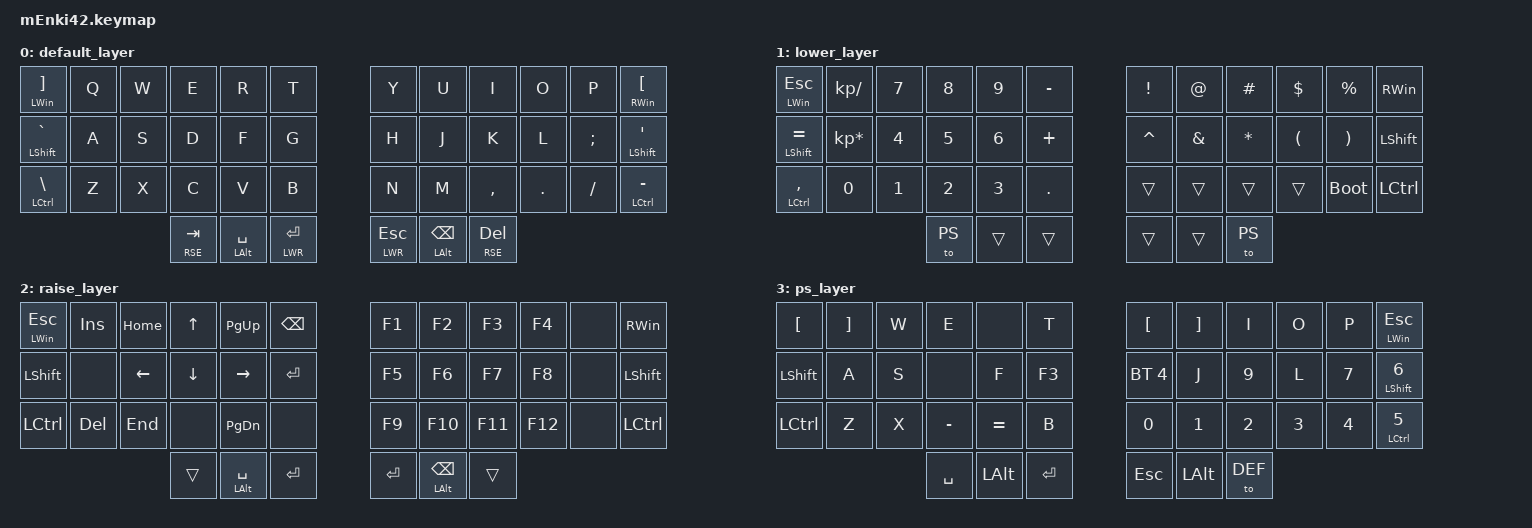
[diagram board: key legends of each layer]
                                                /*
 * Copyright (c) 2020 The ZMK Contributors
 *
 * SPDX-License-Identifier: MIT
 */

#include <behaviors.dtsi>
#include <dt-bindings/zmk/keys.h>
#include <dt-bindings/zmk/bt.h>

#include <dt-bindings/zmk/ext_power.h>
 
#define DEF 0
#define LWR 1
#define RSE 2
#define PS 3

&lt { quick_tap_ms = <150>; };
&mt { quick_tap_ms = <150>; };

/ {
    macros {
        numdot: numdot {
            label = "ZM_numdot";
            compatible = "zmk,behavior-macro";
            #binding-cells = <0>;
            wait-ms = <40>;
            tap-ms = <40>;
            bindings
                = <&macro_press   &kp LALT>    
                , <&macro_tap     &kp KP_N4 &kp KP_N6>    
                , <&macro_release &kp LALT>
                ;
        };
        grtsgn: grtsgn {
            label = "ZM_grtsgn";
            compatible = "zmk,behavior-macro";
            #binding-cells = <0>;
            wait-ms = <40>;
            tap-ms = <40>;
            bindings
                = <&macro_press   &kp LALT>    
                , <&macro_tap     &kp KP_N6 &kp KP_N2>    
                , <&macro_release &kp LALT>
                ;
        };
    };
};
/ {
        keymap {
                compatible = "zmk,keymap";

                default_layer {
                        bindings = <

&mt LWIN  RBKT     &kp Q           &kp W             &kp E         &kp R         &kp T                                 &kp Y          &kp U           &kp I          &kp O          &kp P           &mt RWIN LBKT 
&mt LSHFT GRAVE    &kp A           &kp S             &kp D         &kp F         &kp G                                 &kp H          &kp J           &kp K          &kp L          &kp SEMI        &mt LSHFT SQT
&mt LCTRL  BSLH    &kp Z           &kp X             &kp C         &kp V         &kp B                                 &kp N          &kp M           &kp COMMA      &kp DOT        &kp FSLH        &mt LCTRL MINUS
&lt RSE   TAB      &mt LALT SPACE  &lt LWR RET                                                                         &lt LWR ESC    &mt LALT BSPC   &lt RSE DEL

                        >;
                };
                lower_layer {
                        bindings = <

&mt LWIN ESC       &kp KP_SLASH    &kp N7            &kp N8        &kp N9        &kp MINUS                             &kp EXCL       &kp AT          &kp HASH       &kp DOLLAR     &kp PERCENT     &kp RWIN 
&mt LSHFT EQUAL    &kp KP_MULTIPLY &kp N4            &kp N5        &kp N6        &kp PLUS                              &kp CARET      &kp AMPS        &kp STAR       &kp LPAR       &kp RPAR        &kp LSHFT
&mt LCTRL COMMA    &kp N0          &kp N1            &kp N2        &kp N3        &kp DOT                               &trans         &trans          &trans         &trans         &bootloader     &kp LCTRL 
&to PS             &trans          &trans                                                                              &trans         &trans          &to PS

                        >;
                };
                raise_layer {                   
            bindings = <

&mt LWIN ESC       &kp INS         &kp HOME          &kp UP        &kp PG_UP    &kp BSPC                               &kp F1         &kp F2          &kp F3         &kp F4         &none           &kp RWIN 
&kp LSHFT          &none           &kp LEFT          &kp DOWN      &kp RIGHT    &kp RET                                &kp F5         &kp F6          &kp F7         &kp F8         &none           &kp LSHFT
&kp LCTRL          &kp DEL         &kp END           &none         &kp PG_DN    &none                                  &kp F9         &kp F10         &kp F11        &kp F12        &none           &kp LCTRL
&trans             &mt LALT SPACE  &kp RET                                                                             &kp RET        &mt LALT BSPC   &trans



            >;
                };
                                ps_layer {
                        bindings = <
                                                                                                                                                                     
&kp LBKT           &kp RBKT        &kp W             &kp E         &none        &kp T                                  &kp LBKT       &kp RBKT        &kp I          &kp O          &kp P           &mt LWIN ESC
&kp LSHFT          &kp A           &kp S             &none         &kp F        &kp F3                                 &bt BT_SEL 4   &kp J           &kp N9         &kp L          &kp N7          &mt LSHFT N6 
&kp LCTRL          &kp Z           &kp X             &kp MINUS     &kp EQUAL    &kp B                                  &kp N0         &kp N1          &kp N2         &kp N3         &kp N4          &mt LCTRL N5
                                                     &kp SPACE     &kp LALT     &kp RET                                &kp ESC        &kp LALT        &to DEF
                        >;
                };
        };
};
